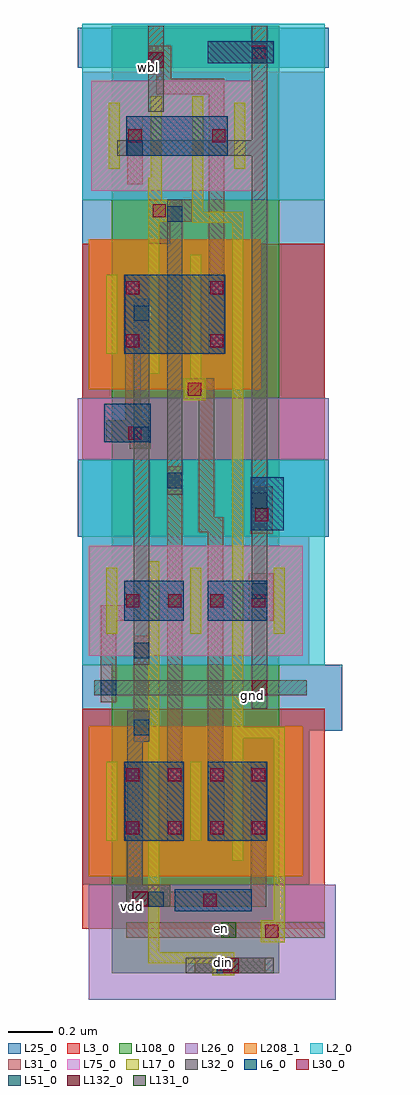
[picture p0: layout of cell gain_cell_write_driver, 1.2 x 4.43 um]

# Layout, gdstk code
from math import pi, radians
import gdstk
lib = gdstk.Library(unit=1e-6, precision=1e-09)
def R(c, l, rs):  # rectangles x0, y0, x1, y1
    for r in rs: c.add(gdstk.rectangle(r[:2], r[2:], *l))
def A(c, l, x, y, w, h, nx, ny, dx, dy):  # array of equal rectangles
    R(c, l, [(x+i*dx, y+j*dy, x+i*dx+w, y+j*dy+h) for i in range(nx) for j in range(ny)])
L2_0 = (2, 0)
L3_0 = (3, 0)
L6_0 = (6, 0)
L17_0 = (17, 0)
L25_0 = (25, 0)
L26_0 = (26, 0)
L30_0 = (30, 0)
L31_0 = (31, 0)
L32_0 = (32, 0)
L51_0 = (51, 0)
L75_0 = (75, 0)
L108_0 = (108, 0)
L131_0 = (131, 0)
L132_0 = (132, 0)
L208_1 = (208, 1)

pch_mac_cdns_72964209677 = lib.new_cell('pch_mac_CDNS_729642096770')
R(pch_mac_cdns_72964209677, L3_0, [(-0.27,-0.16,0.32,0.52)])
R(pch_mac_cdns_72964209677, L6_0, [(-0.11,0,0,0.36), (0,0,0.05,0.36), (0.05,0,0.16,0.36)])
A(pch_mac_cdns_72964209677, L17_0, -0.19, 0, 0.05, 0.36, 3, 1, 0.19, 0)
R(pch_mac_cdns_72964209677, L17_0, [(0,-0.09,0.05,0), (0,0.36,0.05,0.45)])
R(pch_mac_cdns_72964209677, L25_0, [(-0.3,-0.2,-0.24,0.56), (-0.24,-0.2,0.29,0.56), (0.29,-0.2,0.35,0.56)])
R(pch_mac_cdns_72964209677, L30_0, [(-0.1,0.03,-0.04,0.09), (0.09,0.03,0.15,0.09), (-0.1,0.27,-0.04,0.33), (0.09,0.27,0.15,0.33)])
R(pch_mac_cdns_72964209677, L31_0, [(-0.105,0,-0.035,0.36), (0.085,0,0.155,0.36)])
R(pch_mac_cdns_72964209677, L208_1, [(-0.27,-0.16,0.32,0.52)])
pch_mac_cdns_72964209677.add(gdstk.Label('& SerialNumber 000000', (0,0), layer=63, texttype=63))
pch_mac_cdns_72964209677.add(gdstk.Label('& Distributor TSMC', (0,0), layer=63, texttype=63))
pch_mac_cdns_72964209677.add(gdstk.Label('& Metric 1', (0,0), layer=63, texttype=63))
pch_mac_cdns_72964209677.add(gdstk.Label('& PDK Version "tsmcN40_CRN40ULP_v1.5_2b_20200409"', (0,0), layer=63, texttype=63))
pch_mac_cdns_72964209677.add(gdstk.Label('& PDK TechNode "CRN40ULP"', (0,0), layer=63, texttype=63))
pch_mac_cdns_72964209677.add(gdstk.Label('& Product    tsmcN40_PDK', (0,0), layer=63, texttype=63))
pch_mac_cdns_72964209677.add(gdstk.Label('& Vendor     Taiwan Semiconductor manufacturing Corp.', (0,0), layer=63, texttype=63))
pch_mac_cdns_72964209677.add(gdstk.Label('[@instanceName]', (0.025,0.18), layer=127, texttype=0))
pch_mac_cdns_72964209677.add(gdstk.Label('0.36/0.05', (0,0), layer=127, texttype=0))
pch_mac_cdns_72964209677.add(gdstk.Label('pch_mac', (0,0.045), layer=127, texttype=0))
pch_mac_cdns_72964209677.add(gdstk.Label('D', (0.12,0.18), layer=127, texttype=0))
pch_mac_cdns_72964209677.add(gdstk.Label('S', (-0.07,0.18), layer=127, texttype=0))

nch_mac_cdns_72964209677 = lib.new_cell('nch_mac_CDNS_729642096771')
R(nch_mac_cdns_72964209677, L6_0, [(-0.11,0,0,0.18), (0,0,0.05,0.18), (0.05,0,0.16,0.18)])
R(nch_mac_cdns_72964209677, L17_0, [(0,-0.09,0.05,0), (-0.19,-0.06,-0.14,0.24), (0.19,-0.06,0.24,0.24), (0,0,0.05,0.18), (0,0.18,0.05,0.27)])
R(nch_mac_cdns_72964209677, L26_0, [(-0.3,-0.2,-0.24,0.38), (-0.24,-0.2,0.29,0.38), (0.29,-0.2,0.35,0.38)])
R(nch_mac_cdns_72964209677, L30_0, [(-0.1,0.06,-0.04,0.12), (0.09,0.06,0.15,0.12)])
R(nch_mac_cdns_72964209677, L31_0, [(-0.105,0,-0.035,0.18), (0.085,0,0.155,0.18)])
R(nch_mac_cdns_72964209677, L75_0, [(-0.27,-0.16,0.32,0.34)])
R(nch_mac_cdns_72964209677, L208_1, [(-0.27,-0.16,0.32,0.34)])
nch_mac_cdns_72964209677.add(gdstk.Label('& SerialNumber 000000', (0,0), layer=63, texttype=63))
nch_mac_cdns_72964209677.add(gdstk.Label('& Distributor TSMC', (0,0), layer=63, texttype=63))
nch_mac_cdns_72964209677.add(gdstk.Label('& Metric 1', (0,0), layer=63, texttype=63))
nch_mac_cdns_72964209677.add(gdstk.Label('& PDK Version "tsmcN40_CRN40ULP_v1.5_2b_20200409"', (0,0), layer=63, texttype=63))
nch_mac_cdns_72964209677.add(gdstk.Label('& PDK TechNode "CRN40ULP"', (0,0), layer=63, texttype=63))
nch_mac_cdns_72964209677.add(gdstk.Label('& Product    tsmcN40_PDK', (0,0), layer=63, texttype=63))
nch_mac_cdns_72964209677.add(gdstk.Label('& Vendor     Taiwan Semiconductor manufacturing Corp.', (0,0), layer=63, texttype=63))
nch_mac_cdns_72964209677.add(gdstk.Label('[@instanceName]', (0.025,0.09), layer=127, texttype=0))
nch_mac_cdns_72964209677.add(gdstk.Label('0.18/0.05', (0,0), layer=127, texttype=0))
nch_mac_cdns_72964209677.add(gdstk.Label('nch_mac', (0,0.045), layer=127, texttype=0))
nch_mac_cdns_72964209677.add(gdstk.Label('D', (0.12,0.09), layer=127, texttype=0))
nch_mac_cdns_72964209677.add(gdstk.Label('S', (-0.07,0.09), layer=127, texttype=0))

c_nch_mac_cdns_72964209677 = lib.new_cell('nch_mac_CDNS_729642096772')
R(c_nch_mac_cdns_72964209677, L6_0, [(-0.11,0,0,0.18), (0,0,0.05,0.18), (0.05,0,0.12,0.18)])
R(c_nch_mac_cdns_72964209677, L17_0, [(0,-0.09,0.05,0), (-0.19,-0.06,-0.14,0.24), (0,0,0.05,0.18), (0,0.18,0.05,0.27)])
R(c_nch_mac_cdns_72964209677, L26_0, [(-0.3,-0.2,-0.24,0.38), (-0.24,-0.2,0.25,0.38)])
R(c_nch_mac_cdns_72964209677, L30_0, [(-0.1,0.06,-0.04,0.12)])
R(c_nch_mac_cdns_72964209677, L31_0, [(-0.105,0,-0.035,0.18)])
R(c_nch_mac_cdns_72964209677, L75_0, [(-0.27,-0.16,0.28,0.34)])
R(c_nch_mac_cdns_72964209677, L208_1, [(-0.27,-0.16,0.28,0.34)])
c_nch_mac_cdns_72964209677.add(gdstk.Label('& SerialNumber 000000', (0,0), layer=63, texttype=63))
c_nch_mac_cdns_72964209677.add(gdstk.Label('& Distributor TSMC', (0,0), layer=63, texttype=63))
c_nch_mac_cdns_72964209677.add(gdstk.Label('& Metric 1', (0,0), layer=63, texttype=63))
c_nch_mac_cdns_72964209677.add(gdstk.Label('& PDK Version "tsmcN40_CRN40ULP_v1.5_2b_20200409"', (0,0), layer=63, texttype=63))
c_nch_mac_cdns_72964209677.add(gdstk.Label('& PDK TechNode "CRN40ULP"', (0,0), layer=63, texttype=63))
c_nch_mac_cdns_72964209677.add(gdstk.Label('& Product    tsmcN40_PDK', (0,0), layer=63, texttype=63))
c_nch_mac_cdns_72964209677.add(gdstk.Label('& Vendor     Taiwan Semiconductor manufacturing Corp.', (0,0), layer=63, texttype=63))
c_nch_mac_cdns_72964209677.add(gdstk.Label('[@instanceName]', (0.025,0.09), layer=127, texttype=0))
c_nch_mac_cdns_72964209677.add(gdstk.Label('0.18/0.05', (0,0), layer=127, texttype=0))
c_nch_mac_cdns_72964209677.add(gdstk.Label('nch_mac', (0,0.045), layer=127, texttype=0))
c_nch_mac_cdns_72964209677.add(gdstk.Label('S', (-0.07,0.09), layer=127, texttype=0))

c_nch_mac_cdns_72964209677_ = lib.new_cell('nch_mac_CDNS_729642096773')
R(c_nch_mac_cdns_72964209677_, L6_0, [(-0.07,0,0,0.18), (0,0,0.05,0.18), (0.05,0,0.16,0.18)])
R(c_nch_mac_cdns_72964209677_, L17_0, [(0,-0.09,0.05,0), (0.19,-0.06,0.24,0.24), (0,0,0.05,0.18), (0,0.18,0.05,0.27)])
R(c_nch_mac_cdns_72964209677_, L26_0, [(-0.2,-0.2,0.29,0.38), (0.29,-0.2,0.35,0.38)])
R(c_nch_mac_cdns_72964209677_, L30_0, [(0.09,0.06,0.15,0.12)])
R(c_nch_mac_cdns_72964209677_, L31_0, [(0.085,0,0.155,0.18)])
R(c_nch_mac_cdns_72964209677_, L75_0, [(-0.23,-0.16,0.32,0.34)])
R(c_nch_mac_cdns_72964209677_, L208_1, [(-0.23,-0.16,0.32,0.34)])
c_nch_mac_cdns_72964209677_.add(gdstk.Label('& SerialNumber 000000', (0,0), layer=63, texttype=63))
c_nch_mac_cdns_72964209677_.add(gdstk.Label('& Distributor TSMC', (0,0), layer=63, texttype=63))
c_nch_mac_cdns_72964209677_.add(gdstk.Label('& Metric 1', (0,0), layer=63, texttype=63))
c_nch_mac_cdns_72964209677_.add(gdstk.Label('& PDK Version "tsmcN40_CRN40ULP_v1.5_2b_20200409"', (0,0), layer=63, texttype=63))
c_nch_mac_cdns_72964209677_.add(gdstk.Label('& PDK TechNode "CRN40ULP"', (0,0), layer=63, texttype=63))
c_nch_mac_cdns_72964209677_.add(gdstk.Label('& Product    tsmcN40_PDK', (0,0), layer=63, texttype=63))
c_nch_mac_cdns_72964209677_.add(gdstk.Label('& Vendor     Taiwan Semiconductor manufacturing Corp.', (0,0), layer=63, texttype=63))
c_nch_mac_cdns_72964209677_.add(gdstk.Label('[@instanceName]', (0.025,0.09), layer=127, texttype=0))
c_nch_mac_cdns_72964209677_.add(gdstk.Label('0.18/0.05', (0,0), layer=127, texttype=0))
c_nch_mac_cdns_72964209677_.add(gdstk.Label('nch_mac', (0,0.045), layer=127, texttype=0))
c_nch_mac_cdns_72964209677_.add(gdstk.Label('D', (0.12,0.09), layer=127, texttype=0))

c_pch_mac_cdns_72964209677 = lib.new_cell('pch_mac_CDNS_729642096774')
R(c_pch_mac_cdns_72964209677, L3_0, [(-0.27,-0.16,0.28,0.52)])
R(c_pch_mac_cdns_72964209677, L6_0, [(-0.11,0,0,0.36), (0,0,0.05,0.36), (0.05,0,0.12,0.36)])
R(c_pch_mac_cdns_72964209677, L17_0, [(0,-0.09,0.05,0), (-0.19,0,-0.14,0.36), (0,0,0.05,0.36), (0,0.36,0.05,0.45)])
R(c_pch_mac_cdns_72964209677, L25_0, [(-0.3,-0.2,-0.24,0.56), (-0.24,-0.2,0.25,0.56)])
R(c_pch_mac_cdns_72964209677, L30_0, [(-0.1,0.03,-0.04,0.09), (-0.1,0.27,-0.04,0.33)])
R(c_pch_mac_cdns_72964209677, L31_0, [(-0.105,0,-0.035,0.36)])
R(c_pch_mac_cdns_72964209677, L208_1, [(-0.27,-0.16,0.28,0.52)])
c_pch_mac_cdns_72964209677.add(gdstk.Label('& SerialNumber 000000', (0,0), layer=63, texttype=63))
c_pch_mac_cdns_72964209677.add(gdstk.Label('& Distributor TSMC', (0,0), layer=63, texttype=63))
c_pch_mac_cdns_72964209677.add(gdstk.Label('& Metric 1', (0,0), layer=63, texttype=63))
c_pch_mac_cdns_72964209677.add(gdstk.Label('& PDK Version "tsmcN40_CRN40ULP_v1.5_2b_20200409"', (0,0), layer=63, texttype=63))
c_pch_mac_cdns_72964209677.add(gdstk.Label('& PDK TechNode "CRN40ULP"', (0,0), layer=63, texttype=63))
c_pch_mac_cdns_72964209677.add(gdstk.Label('& Product    tsmcN40_PDK', (0,0), layer=63, texttype=63))
c_pch_mac_cdns_72964209677.add(gdstk.Label('& Vendor     Taiwan Semiconductor manufacturing Corp.', (0,0), layer=63, texttype=63))
c_pch_mac_cdns_72964209677.add(gdstk.Label('[@instanceName]', (0.025,0.18), layer=127, texttype=0))
c_pch_mac_cdns_72964209677.add(gdstk.Label('0.36/0.05', (0,0), layer=127, texttype=0))
c_pch_mac_cdns_72964209677.add(gdstk.Label('pch_mac', (0,0.045), layer=127, texttype=0))
c_pch_mac_cdns_72964209677.add(gdstk.Label('S', (-0.07,0.18), layer=127, texttype=0))

c_pch_mac_cdns_72964209677_ = lib.new_cell('pch_mac_CDNS_729642096775')
R(c_pch_mac_cdns_72964209677_, L3_0, [(-0.23,-0.16,0.32,0.52)])
R(c_pch_mac_cdns_72964209677_, L6_0, [(-0.07,0,0,0.36), (0,0,0.05,0.36), (0.05,0,0.16,0.36)])
R(c_pch_mac_cdns_72964209677_, L17_0, [(0,-0.09,0.05,0), (0,0,0.05,0.36), (0.19,0,0.24,0.36), (0,0.36,0.05,0.45)])
R(c_pch_mac_cdns_72964209677_, L25_0, [(-0.2,-0.2,0.29,0.56), (0.29,-0.2,0.35,0.56)])
R(c_pch_mac_cdns_72964209677_, L30_0, [(0.09,0.03,0.15,0.09), (0.09,0.27,0.15,0.33)])
R(c_pch_mac_cdns_72964209677_, L31_0, [(0.085,0,0.155,0.36)])
R(c_pch_mac_cdns_72964209677_, L208_1, [(-0.23,-0.16,0.32,0.52)])
c_pch_mac_cdns_72964209677_.add(gdstk.Label('& SerialNumber 000000', (0,0), layer=63, texttype=63))
c_pch_mac_cdns_72964209677_.add(gdstk.Label('& Distributor TSMC', (0,0), layer=63, texttype=63))
c_pch_mac_cdns_72964209677_.add(gdstk.Label('& Metric 1', (0,0), layer=63, texttype=63))
c_pch_mac_cdns_72964209677_.add(gdstk.Label('& PDK Version "tsmcN40_CRN40ULP_v1.5_2b_20200409"', (0,0), layer=63, texttype=63))
c_pch_mac_cdns_72964209677_.add(gdstk.Label('& PDK TechNode "CRN40ULP"', (0,0), layer=63, texttype=63))
c_pch_mac_cdns_72964209677_.add(gdstk.Label('& Product    tsmcN40_PDK', (0,0), layer=63, texttype=63))
c_pch_mac_cdns_72964209677_.add(gdstk.Label('& Vendor     Taiwan Semiconductor manufacturing Corp.', (0,0), layer=63, texttype=63))
c_pch_mac_cdns_72964209677_.add(gdstk.Label('[@instanceName]', (0.025,0.18), layer=127, texttype=0))
c_pch_mac_cdns_72964209677_.add(gdstk.Label('0.36/0.05', (0,0), layer=127, texttype=0))
c_pch_mac_cdns_72964209677_.add(gdstk.Label('pch_mac', (0,0.045), layer=127, texttype=0))
c_pch_mac_cdns_72964209677_.add(gdstk.Label('D', (0.12,0.18), layer=127, texttype=0))

gain_cell_write_driver = lib.new_cell('gain_cell_write_driver')
R(gain_cell_write_driver, L2_0, [(-0.11,1.4,0.99,2.33), (-0.11,3.51,0.99,4.31)])
R(gain_cell_write_driver, L3_0, [(-0.11,0.2,0.99,1.2), (-0.11,2.33,0.99,3.31)])
R(gain_cell_write_driver, L6_0, [(0.31,0.28,0.66,0.38), (0.655,2.01,0.805,2.25), (-0.01,2.41,0.2,2.585), (0.46,4.13,0.76,4.23)])
R(gain_cell_write_driver, L17_0, [(0.48,-0.01,0.58,0.09), (0.19,0.08,0.24,0.75), (0.7,0.14,0.8,0.24), (0.19,1,0.24,1.55), (0.57,1,0.62,1.55), (0.57,1.8,0.62,2), (0.35,2.6,0.45,2.7), (0.38,2.61,0.43,2.81), (0.38,2.61,0.43,2.81), (0.19,3.21,0.24,3.61), (0.19,3.41,0.29,3.51), (0.39,3.41,0.44,3.66), (0.2,3.51,0.25,3.71)])
R(gain_cell_write_driver, L25_0, [(-0.11,1.1,1.07,1.4), (-0.13,1.98,1.01,2.33), (-0.11,2.61,0.99,3.31), (-0.11,3.31,0.99,3.51), (-0.13,4.11,1.01,4.29)])
R(gain_cell_write_driver, L26_0, [(-0.08,-0.12,1.04,0.4), (-0.13,2.33,1.01,2.61), (-0.11,3.51,0.99,4.09)])
R(gain_cell_write_driver, L30_0, [(0.5,0.01,0.56,0.07), (0.72,0.16,0.78,0.22), (0.44,0.3,0.5,0.36), (0.675,2.05,0.735,2.11), (0.1,2.42,0.16,2.48), (0.37,2.62,0.43,2.68), (0.21,3.43,0.27,3.49), (0.66,4.15,0.72,4.21)])
R(gain_cell_write_driver, L31_0, [(0.4,0,0.72,0.07), (0.09,0.16,0.99,0.23), (0.09,0.3,0.29,0.4), (0.09,0.3,0.69,0.37), (0.09,0.3,0.16,0.7), (0.655,0.3,0.725,0.7), (0.275,0.8,0.345,2.3), (0.46,0.8,0.53,1.8), (0.125,1.05,0.195,1.53), (0.645,1.6,0.76,1.815), (0.46,1.7,0.53,2), (0.655,1.995,0.755,2.21), (0.42,2,0.53,2.07), (0.42,2,0.49,2.7), (0.105,2.38,0.2,2.51), (0,2.41,0.2,2.51), (0.085,2.41,0.155,3.11), (0.35,2.6,0.49,2.7), (0.09,2.81,0.17,3.17), (0.13,2.93,0.195,3.17), (0.19,3.31,0.29,3.51), (0.19,3.41,0.29,3.51), (0.29,3.41,0.39,3.51), (0.095,3.58,0.165,3.68), (0.095,3.68,0.165,3.81), (0.19,4.08,0.29,4.21), (0.46,4.13,0.76,4.23)])
R(gain_cell_write_driver, L32_0, [(0.36,0,0.76,0.07), (0.09,0.3,0.29,0.4), (0.095,0.39,0.165,1.19), (0.13,1.05,0.195,1.19), (0.66,1.2,0.73,4.3), (-0.055,1.26,-0.02,1.33), (-0.02,1.26,0.91,1.33), (0.125,1.4,0.195,3.06), (0.13,1.4,0.195,1.53), (0.275,2.17,0.345,3.51), (0.19,3.91,0.26,4.3)])
R(gain_cell_write_driver, L51_0, [(0.5,0,0.57,0.07), (0.19,0.3,0.26,0.37), (0.125,1.08,0.195,1.15), (-0.025,1.26,0.045,1.33), (-0.025,1.26,0.045,1.33), (0.125,1.43,0.195,1.5), (0.66,1.7,0.73,1.77), (0.66,2.11,0.73,2.18), (0.275,2.2,0.345,2.27), (0.125,2.41,0.195,2.48), (0.125,2.96,0.195,3.03), (0.275,3.41,0.345,3.48), (0.095,3.71,0.165,3.78), (0.19,4.11,0.26,4.18), (0.66,4.13,0.73,4.2)])
R(gain_cell_write_driver, L108_0, [(0.025,0,0.785,4.3)])
R(gain_cell_write_driver, L131_0, [(0.52,0.16,0.59,0.23), (0.52,0.16,0.59,0.23)])
R(gain_cell_write_driver, L132_0, [(0.53,0,0.6,0.07), (0.53,0,0.6,0.07), (0.12,0.3,0.19,0.37), (0.12,0.3,0.19,0.37), (0.66,1.26,0.73,1.33), (0.19,4.11,0.26,4.18), (0.19,4.11,0.26,4.18)])
gain_cell_write_driver.add(gdstk.FlexPath([(0.555,0.07),(0.555,0.09)], 0.05, ends=(0.025, 0), simple_path=True, layer=17, datatype=0))  # L17_0
gain_cell_write_driver.add(gdstk.FlexPath([(0.215,0.07),(0.555,0.07)], 0.05, ends="extended", simple_path=True, layer=17, datatype=0))  # L17_0
gain_cell_write_driver.add(gdstk.FlexPath([(0.215,0.08),(0.215,0.07)], 0.05, ends=(0, 0.025), simple_path=True, layer=17, datatype=0))  # L17_0
gain_cell_write_driver.add(gdstk.FlexPath([(0.595,3.36),(0.595,2)], 0.05, ends=(0.025, 0), simple_path=True, layer=17, datatype=0))  # L17_0
gain_cell_write_driver.add(gdstk.FlexPath([(0.595,3.36),(0.59,3.36)], 0.05, ends=(0.025, 0), simple_path=True, layer=17, datatype=0))  # L17_0
gain_cell_write_driver.add(gdstk.FlexPath([(0.415,3.43),(0.595,3.43)], 0.05, ends="extended", simple_path=True, layer=17, datatype=0))  # L17_0
gain_cell_write_driver.add(gdstk.FlexPath([(0.595,1.09),(0.785,1.09)], 0.05, ends="extended", simple_path=True, layer=17, datatype=0))  # L17_0
gain_cell_write_driver.add(gdstk.FlexPath([(0.785,1.09),(0.785,0.165)], 0.05, ends="extended", simple_path=True, layer=17, datatype=0))  # L17_0
gain_cell_write_driver.add(gdstk.FlexPath([(0.415,3.525),(0.415,3.43)], 0.05, ends=(0, 0.025), simple_path=True, layer=17, datatype=0))  # L17_0
gain_cell_write_driver.add(gdstk.FlexPath([(0.595,3.43),(0.595,3.36)], 0.05, ends="extended", simple_path=True, layer=17, datatype=0))  # L17_0
gain_cell_write_driver.add(gdstk.FlexPath([(0.79,0.165),(0.8,0.165)], 0.05, ends=(0.025, 0), simple_path=True, layer=17, datatype=0))  # L17_0
gain_cell_write_driver.add(gdstk.FlexPath([(0.5,4.025),(0.26,4.025)], 0.07, ends="extended", simple_path=True, layer=31, datatype=0))  # L31_0
gain_cell_write_driver.add(gdstk.FlexPath([(0.01,1.635),(0.01,1.23)], 0.07, ends=(0.035, 0), simple_path=True, layer=31, datatype=0))  # L31_0
gain_cell_write_driver.add(gdstk.FlexPath([(0.11,1.635),(0.01,1.635)], 0.07, ends="extended", simple_path=True, layer=31, datatype=0))  # L31_0
gain_cell_write_driver.add(gdstk.FlexPath([(0.26,4.03),(0.26,4.175)], 0.07, ends="extended", simple_path=True, layer=31, datatype=0))  # L31_0
gain_cell_write_driver.add(gdstk.FlexPath([(0.5,3.17),(0.5,4.025)], 0.07, ends=(0, 0.035), simple_path=True, layer=31, datatype=0))  # L31_0
gain_cell_write_driver.add(gdstk.FlexPath([(0.26,4.175),(0.29,4.175)], 0.07, ends=(0.035, 0), simple_path=True, layer=31, datatype=0))  # L31_0
gain_cell_write_driver.add(gdstk.FlexPath([(0.05,3.745),(0.66,3.745)], 0.07, ends="flush", simple_path=True, layer=32, datatype=0))  # L32_0
gain_cell_write_driver.add(gdstk.Reference(pch_mac_cdns_72964209677, (0.62,0.6), rotation=pi, x_reflection=True))
gain_cell_write_driver.add(gdstk.Reference(pch_mac_cdns_72964209677, (0.19,0.6)))
gain_cell_write_driver.add(gdstk.Reference(nch_mac_cdns_72964209677, (0.62,1.6), rotation=pi, x_reflection=True))
gain_cell_write_driver.add(gdstk.Reference(nch_mac_cdns_72964209677, (0.19,1.6)))
gain_cell_write_driver.add(gdstk.Reference(c_nch_mac_cdns_72964209677, (0.2,3.71)))
gain_cell_write_driver.add(gdstk.Reference(c_nch_mac_cdns_72964209677_, (0.39,3.71)))
gain_cell_write_driver.add(gdstk.Reference(c_pch_mac_cdns_72964209677, (0.19,2.81)))
gain_cell_write_driver.add(gdstk.Reference(c_pch_mac_cdns_72964209677_, (0.38,2.81)))
gain_cell_write_driver.add(gdstk.Label('wbl', (0.19,4.11), layer=132, texttype=0))
gain_cell_write_driver.add(gdstk.Label('din', (0.53,0.05), layer=132, texttype=0))
gain_cell_write_driver.add(gdstk.Label('gnd', (0.665,1.26), layer=132, texttype=0))
gain_cell_write_driver.add(gdstk.Label('vdd', (0.12,0.3), layer=132, texttype=0))
gain_cell_write_driver.add(gdstk.Label('en', (0.52,0.2), layer=131, texttype=0))

lib.write_gds('gain_cell_write_driver.gds')
